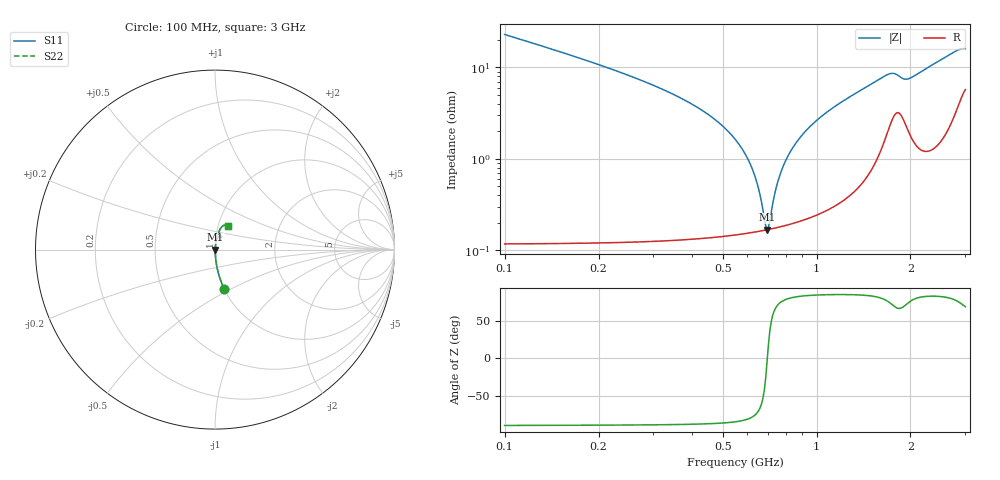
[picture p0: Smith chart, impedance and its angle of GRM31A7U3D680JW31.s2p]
!Murata Part Number: GRM31A7U3D680JW31
!These Parameters are Measured in Series Mode Connection
!Data Generated on Mar 30, 2021
!  o--ll--o
!Port1  Port2
!  o------o
!Operation Temp=25[degC], DC Bias Voltage=0[V]
!Freq. Start=100[MHz] Stop=3[GHz] 401[Steps]
# Hz S RI R 50
!Freq.(Hz) S11(Real) S11(Imag) S21(Real) S21(Imag) S12(Real) S12(Imag) S22(Real) S22(Imag)
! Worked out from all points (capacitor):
!   401 points, 100 MHz to 3 GHz, reference 50 ohm
!   read as one part in series: C = 67.9 pF near 114.5 MHz
!   lowest |Z| = 168 mohm at 694.5 MHz (marker M1)
!   series resonance near 695.3 MHz, so ESL is about 770 pH
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1e8  0.051 -0.2174  0.949 0.2174  0.949 0.2174  0.051 -0.2174
1.725e8  0.0171 -0.1251  0.9829 0.1251  0.9829 0.1251  0.0171 -0.1251
2.5225e8  0.00769 -0.0801  0.9923 0.0801  0.9923 0.0801  0.00769 -0.0801
4.77e8  0.00208 -0.0261  0.9979 0.0261  0.9979 0.0261  0.00208 -0.0261
5.8575e8  0.00165 -0.0117  0.9983 0.0117  0.9983 0.0117  0.00165 -0.0117
6.365e8  0.00162 -0.00604  0.9984 0.00604  0.9984 0.00604  0.00162 -0.00604
6.8e8  0.00166 -0.00152  0.9983 0.00152  0.9983 0.00152  0.00166 -0.00152
6.945e8  0.00168 -8.07e-05  0.9983 8.07e-05  0.9983 8.07e-05  0.00168 -8.07e-05
7.09e8  0.0017 0.00134  0.9983 -0.00134  0.9983 -0.00134  0.0017 0.00134
7.38e8  0.00177 0.00409  0.9982 -0.00409  0.9982 -0.00409  0.00177 0.00409
7.5975e8  0.00183 0.0061  0.9982 -0.0061  0.9982 -0.0061  0.00183 0.0061
8.1775e8  0.00204 0.0112  0.998 -0.0112  0.998 -0.0112  0.00204 0.0112
9.1925e8  0.00256 0.0197  0.9974 -0.0197  0.9974 -0.0197  0.00256 0.0197
1.0715e9  0.00369 0.0315  0.9963 -0.0315  0.9963 -0.0315  0.00369 0.0315
1.26725e9  0.00601 0.0462  0.994 -0.0462  0.994 -0.0462  0.00601 0.0462
1.55e9  0.014 0.0685  0.986 -0.0685  0.986 -0.0685  0.014 0.0685
1.73125e9  0.0304 0.0779  0.9696 -0.0779  0.9696 -0.0779  0.0304 0.0779
1.9125e9  0.0293 0.0665  0.9707 -0.0665  0.9707 -0.0665  0.0293 0.0665
2.03575e9  0.0214 0.0747  0.9786 -0.0747  0.9786 -0.0747  0.0214 0.0747
2.5215e9  0.0298 0.1164  0.9702 -0.1164  0.9702 -0.1164  0.0298 0.1164
2.826e9  0.0541 0.1365  0.9459 -0.1365  0.9459 -0.1365  0.0541 0.1365
3e9  0.0727 0.1311  0.9273 -0.1311  0.9273 -0.1311  0.0727 0.1311
